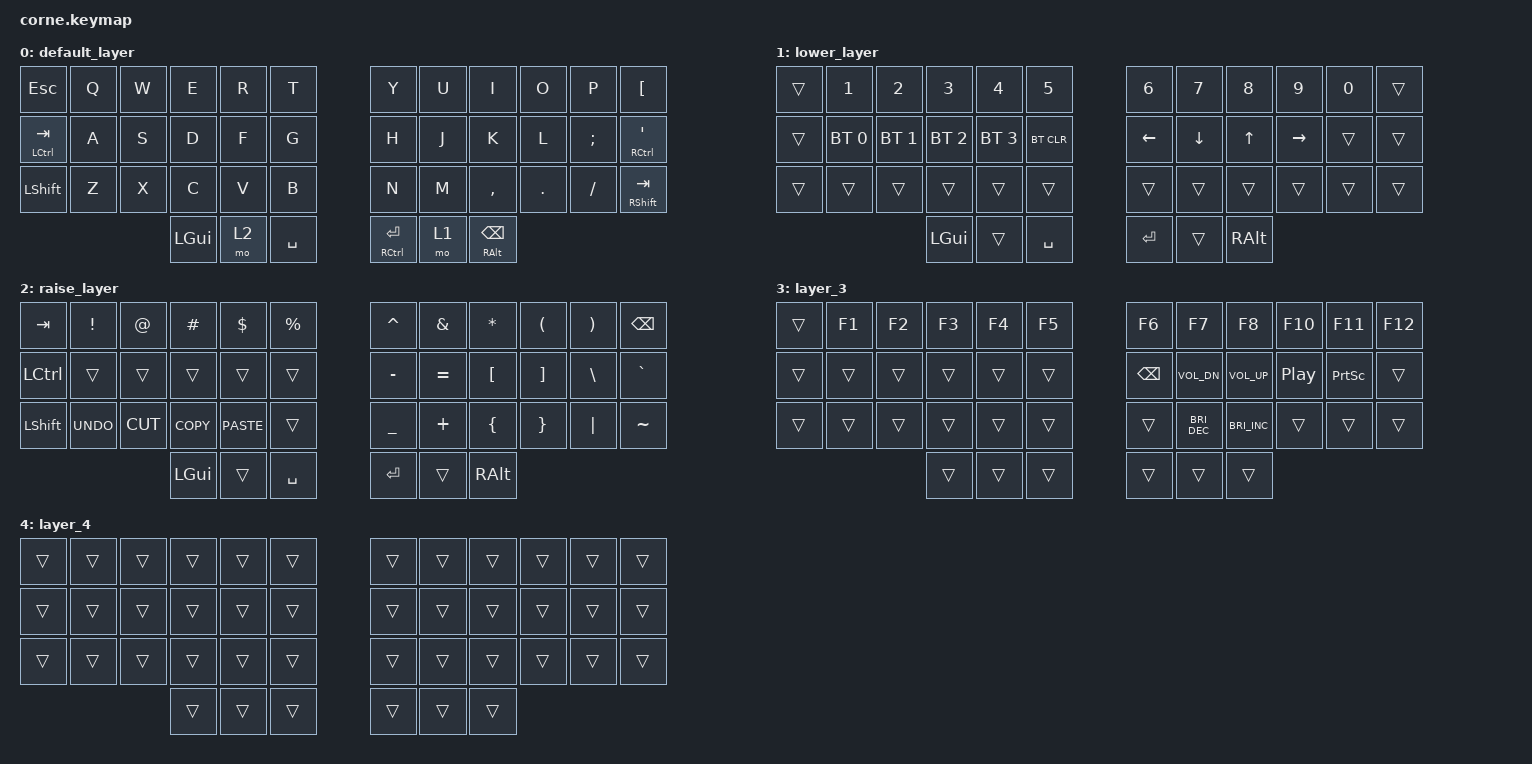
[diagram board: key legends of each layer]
/*
 * Copyright (c) 2020 The ZMK Contributors
 *
 * SPDX-License-Identifier: MIT
 */

#include <behaviors.dtsi>
#include <dt-bindings/zmk/bt.h>
#include <dt-bindings/zmk/keys.h>

/ {
    keymap {
        compatible = "zmk,keymap";

        default_layer {
            // -----------------------------------------------------------------------------------------
            // |  TAB |  Q  |  W  |  E  |  R  |  T  |   |  Y  |  U   |  I  |  O  |  P  | BSPC |
            // | CTRL |  A  |  S  |  D  |  F  |  G  |   |  H  |  J   |  K  |  L  |  ;  |  '   |
            // | SHFT |  Z  |  X  |  C  |  V  |  B  |   |  N  |  M   |  ,  |  .  |  /  | ESC  |
            //                    | GUI | LWR | SPC |   | ENT | RSE  | ALT |

            bindings = <
&kp ESC        &kp Q  &kp W  &kp E     &kp R  &kp T        &kp Y          &kp U  &kp I                    &kp O    &kp P     &kp LBKT
&mt LCTRL TAB  &kp A  &kp S  &kp D     &kp F  &kp G        &kp H          &kp J  &kp K                    &kp L    &kp SEMI  &mt RCTRL SQT
&kp LSHFT      &kp Z  &kp X  &kp C     &kp V  &kp B        &kp N          &kp M  &kp COMMA                &kp DOT  &kp FSLH  &mt RIGHT_SHIFT TAB
                             &kp LGUI  &mo 2  &kp SPACE    &mt RCTRL RET  &mo 1  &mt RIGHT_ALT BACKSPACE
            >;
        };

        lower_layer {
            // -----------------------------------------------------------------------------------------
            // |  TAB |  1  |  2  |  3  |  4  |  5  |   |  6  |  7  |  8  |  9  |  0  | BSPC |
            // | BTCLR| BT1 | BT2 | BT3 | BT4 | BT5 |   | LFT | DWN |  UP | RGT |     |      |
            // | SHFT |     |     |     |     |     |   |     |     |     |     |     |      |
            //                    | GUI |     | SPC |   | ENT |     | ALT |

            bindings = <
&trans  &kp N1        &kp N2        &kp N3        &kp N4        &kp N5        &kp N6    &kp N7    &kp N8    &kp N9     &kp N0  &trans
&trans  &bt BT_SEL 0  &bt BT_SEL 1  &bt BT_SEL 2  &bt BT_SEL 3  &bt BT_CLR    &kp LEFT  &kp DOWN  &kp UP    &kp RIGHT  &trans  &trans
&trans  &trans        &trans        &trans        &trans        &trans        &trans    &trans    &trans    &trans     &trans  &trans
                                    &kp LGUI      &trans        &kp SPACE     &kp RET   &trans    &kp RALT
            >;
        };

        raise_layer {
            // -----------------------------------------------------------------------------------------
            // |  TAB |  !  |  @  |  #  |  $  |  %  |   |  ^  |  &  |  *  |  (  |  )  | BSPC |
            // | CTRL |     |     |     |     |     |   |  -  |  =  |  [  |  ]  |  \  |  `   |
            // | SHFT |     |     |     |     |     |   |  _  |  +  |  {  |  }  | "|" |  ~   |
            //                    | GUI |     | SPC |   | ENT |     | ALT |

            bindings = <
&kp TAB    &kp EXCL    &kp AT     &kp HASH    &kp DLLR     &kp PRCNT    &kp CARET  &kp AMPS   &kp ASTRK  &kp LPAR  &kp RPAR  &kp BSPC
&kp LCTRL  &trans      &trans     &trans      &trans       &trans       &kp MINUS  &kp EQUAL  &kp LBKT   &kp RBKT  &kp BSLH  &kp GRAVE
&kp LSHFT  &kp K_UNDO  &kp K_CUT  &kp K_COPY  &kp K_PASTE  &trans       &kp UNDER  &kp PLUS   &kp LBRC   &kp RBRC  &kp PIPE  &kp TILDE
                                  &kp LGUI    &trans       &kp SPACE    &kp RET    &trans     &kp RALT
            >;
        };

        layer_3 {
            bindings = <
&trans  &kp F1  &kp F2  &kp F3  &kp F4  &kp F5    &kp F6         &kp F7                &kp F8                &kp F10           &kp F11          &kp F12
&trans  &trans  &trans  &trans  &trans  &trans    &kp BACKSPACE  &kp C_VOL_DN          &kp C_VOLUME_UP       &kp C_PLAY_PAUSE  &kp PRINTSCREEN  &trans
&trans  &trans  &trans  &trans  &trans  &trans    &trans         &kp C_BRIGHTNESS_DEC  &kp C_BRIGHTNESS_INC  &trans            &trans           &trans
                        &trans  &trans  &trans    &trans         &trans                &trans
            >;
        };

        layer_4 {
            bindings = <
&trans  &trans  &trans  &trans  &trans  &trans    &trans  &trans  &trans  &trans  &trans  &trans
&trans  &trans  &trans  &trans  &trans  &trans    &trans  &trans  &trans  &trans  &trans  &trans
&trans  &trans  &trans  &trans  &trans  &trans    &trans  &trans  &trans  &trans  &trans  &trans
                        &trans  &trans  &trans    &trans  &trans  &trans
            >;
        };
    };

    conditional_layers {
        compatible = "zmk,conditional-layers";

        layer_3 {
            if-layers = <1 2>;
            then-layer = <3>;
        };
    };
};
